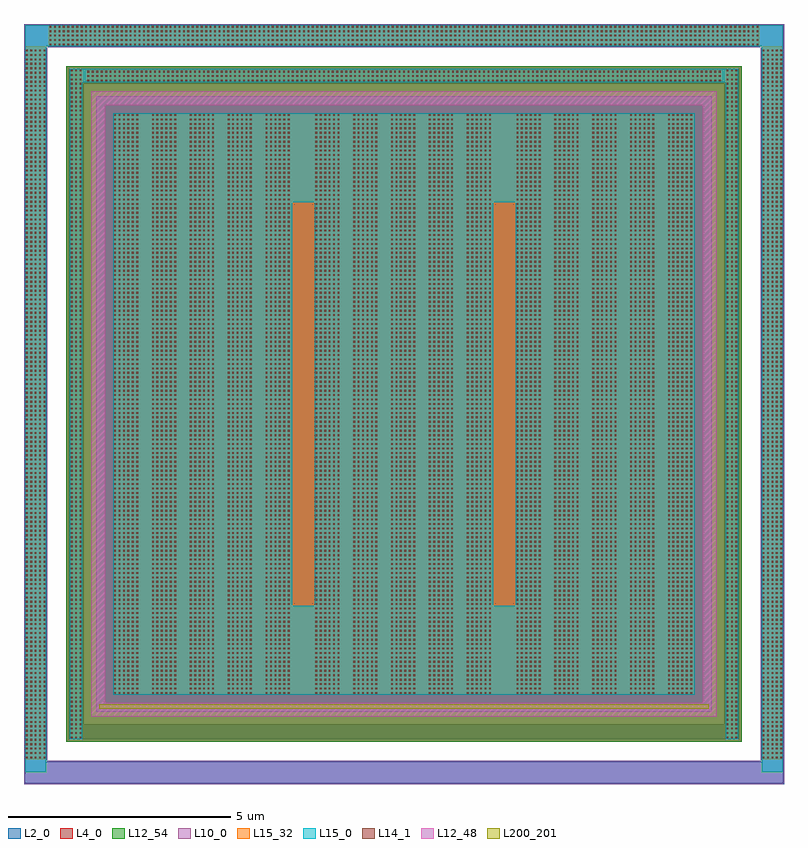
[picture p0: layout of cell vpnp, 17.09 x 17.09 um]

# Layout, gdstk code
import gdstk
lib = gdstk.Library(unit=1e-6, precision=1e-09)
def R(c, l, rs):  # rectangles x0, y0, x1, y1
    for r in rs: c.add(gdstk.rectangle(r[:2], r[2:], *l))
def A(c, l, x, y, w, h, nx, ny, dx, dy):  # array of equal rectangles
    R(c, l, [(x+i*dx, y+j*dy, x+i*dx+w, y+j*dy+h) for i in range(nx) for j in range(ny)])
L2_0 = (2, 0)
L4_0 = (4, 0)
L10_0 = (10, 0)
L12_48 = (12, 48)
L12_54 = (12, 54)
L14_1 = (14, 1)
L15_0 = (15, 0)
L15_32 = (15, 32)
L200_201 = (200, 201)

vpnp = lib.new_cell('vpnp')
R(vpnp, L2_0, [(-15.029,-7.059,2.023,-6.579), (-15.029,-6.579,-14.549,9.513), (1.543,-6.579,2.023,9.513), (-14.049,-6.079,1.043,-5.739), (-14.049,-5.739,-13.709,8.673), (0.703,-5.739,1.043,8.673), (-13.353,-5.383,0.347,8.317), (-14.049,8.673,1.043,9.013), (-15.029,9.513,2.023,9.993)])
R(vpnp, L4_0, [(-14.105,-6.135,1.099,9.069)])
R(vpnp, L10_0, [(-15.05,-7.08,2.044,-6.558), (-15.05,-6.558,-14.528,9.492), (1.522,-6.558,2.044,9.492), (-13.423,-5.453,0.417,8.387), (-15.05,9.492,2.044,10.014)])
R(vpnp, L12_48, [(-13.534,-5.564,0.528,-5.258), (-13.534,-5.258,-13.228,8.192), (0.222,-5.258,0.528,8.192), (-13.534,8.192,0.528,8.498)])
R(vpnp, L12_54, [(-14.105,-6.135,1.099,9.069)])
A(vpnp, L14_1, -15.009, -6.503, 0.04, 0.04, 5, 160, 0.1, 0.1)
A(vpnp, L14_1, 1.563, -6.503, 0.04, 0.04, 5, 160, 0.1, 0.1)
A(vpnp, L14_1, -13.999, -6.053, 0.04, 0.04, 3, 151, 0.1, 0.1)
A(vpnp, L14_1, 0.753, -6.053, 0.04, 0.04, 3, 151, 0.1, 0.1)
A(vpnp, L14_1, -13.023, -5.053, 0.04, 0.04, 6, 131, 0.1, 0.1)
A(vpnp, L14_1, -12.171, -5.053, 0.04, 0.04, 6, 131, 0.1, 0.1)
A(vpnp, L14_1, -11.319, -5.053, 0.04, 0.04, 6, 131, 0.1, 0.1)
A(vpnp, L14_1, -10.467, -5.053, 0.04, 0.04, 6, 131, 0.1, 0.1)
A(vpnp, L14_1, -9.615, -5.053, 0.04, 0.04, 6, 131, 0.1, 0.1)
A(vpnp, L14_1, -8.497, -5.053, 0.04, 0.04, 6, 131, 0.1, 0.1)
A(vpnp, L14_1, -7.645, -5.053, 0.04, 0.04, 6, 131, 0.1, 0.1)
A(vpnp, L14_1, -6.793, -5.053, 0.04, 0.04, 6, 131, 0.1, 0.1)
A(vpnp, L14_1, -5.941, -5.053, 0.04, 0.04, 6, 131, 0.1, 0.1)
A(vpnp, L14_1, -5.089, -5.053, 0.04, 0.04, 6, 131, 0.1, 0.1)
A(vpnp, L14_1, -3.972, -5.053, 0.04, 0.04, 6, 131, 0.1, 0.1)
A(vpnp, L14_1, -3.12, -5.053, 0.04, 0.04, 6, 131, 0.1, 0.1)
A(vpnp, L14_1, -2.268, -5.053, 0.04, 0.04, 6, 131, 0.1, 0.1)
A(vpnp, L14_1, -1.416, -5.053, 0.04, 0.04, 6, 131, 0.1, 0.1)
A(vpnp, L14_1, -0.564, -5.053, 0.04, 0.04, 6, 131, 0.1, 0.1)
A(vpnp, L14_1, -13.623, 8.723, 0.04, 0.04, 143, 3, 0.1, 0.1)
A(vpnp, L14_1, -14.473, 9.533, 0.04, 0.04, 160, 5, 0.1, 0.1)
R(vpnp, L15_0, [(-15.027,-6.819,-14.551,9.991), (1.545,-6.819,2.021,9.991), (-14.017,-6.071,-13.741,9.005), (0.735,-6.071,1.011,9.005), (-13.041,-5.071,0.035,-3.071), (-13.041,-3.071,-9.016,6.005), (-8.515,-3.071,-4.49,6.005), (-3.99,-3.071,0.035,6.005), (-13.041,6.005,0.035,8.005), (-13.741,8.705,0.735,9.005), (-14.551,9.515,1.545,9.991)])
R(vpnp, L15_32, [(-15.027,-6.521,-14.551,9.515), (1.545,-6.521,2.021,9.515), (-14.017,-6.071,-13.741,9.005), (0.735,-6.071,1.011,9.005), (-13.041,-5.071,0.035,8.005), (-13.641,8.705,0.635,8.981), (-14.491,9.515,1.485,9.991)])
R(vpnp, L200_201, [(-13.353,-5.383,0.347,-5.283)])

lib.write_gds('vpnp.gds')
